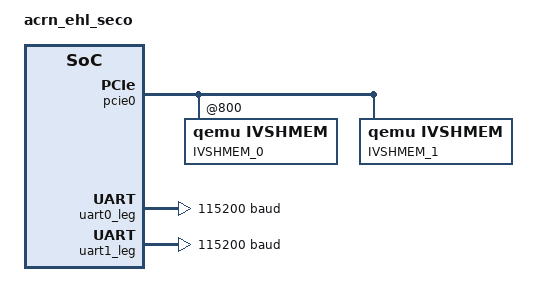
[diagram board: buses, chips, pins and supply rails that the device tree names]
/*
 * Copyright (c) 2020 Intel Corporation
 *
 * SPDX-License-Identifier: Apache-2.0
 */

/dts-v1/;

#include <mem.h>

//#define DT_DRAM_SIZE		DT_SIZE_M(2048)
#define DT_DRAM_SIZE		DT_SIZE_M(256)
#define DT_DRAM_BASE		0

#include <acrn_vm0_elkhart_lake.dtsi>

/ {
	model = "acrn_ehl_seco";
	compatible = "acrn_ehl_seco";

	aliases {
		uart-0 = &uart0_leg;
		uart-1 = &uart1_leg;
	};

	chosen {
		zephyr,sram = &dram0;
		zephyr,console = &uart0_leg;
		zephyr,shell-uart = &uart0_leg;
	};

    pcie0 {
		ivshmem0: ivshmem@800 {
			compatible = "qemu,ivshmem";

			reg = <PCIE_BDF(0,0x1,0) PCIE_ID(0x1af4,0x1110)>;
//			reg = <PCIE_BDF_NONE PCIE_ID(0x1af4,0x1110)>;
			label = "IVSHMEM_0";
			status = "okay";
		};
		ivshmem1: ivshmem@1000 {
			compatible = "qemu,ivshmem";

			reg = <PCIE_BDF(0,0x2,0) PCIE_ID(0x1af4,0x1110)>;

			label = "IVSHMEM_1";
			status = "okay";
		};
    };

    soc {
		uart0_leg: uart@3f8 {
			compatible = "ns16550";
			reg = <0x000003f8 0x100>;
			label = "UART_0_LEG";
			clock-frequency = <1843200>;
			interrupts = <4 IRQ_TYPE_LOWEST_EDGE_RISING 3>;
			interrupt-parent = <&intc>;

			status = "disabled";
		};

		uart1_leg: uart@2f8 {
			compatible = "ns16550";
			reg = <0x000002f8 0x100>;
			label = "UART_1_LEG";
			clock-frequency = <1843200>;
			interrupts = <3 IRQ_TYPE_LOWEST_EDGE_RISING 3>;
			interrupt-parent = <&intc>;

			status = "disabled";
		};
    };
};

// enabled and modified devices
&uart0_leg {
	status = "okay";
	current-speed = <115200>;
};

&uart1_leg {
	status = "okay";
	current-speed = <115200>;
};

&uart1_fixed {
	status = "disabled";
};

&uart2_fixed {
	status = "disabled";
};

&dram0 {
	device_type = "memory";
	reg = <DT_DRAM_BASE DT_DRAM_SIZE>;
};

// disabled devices
&ibecc {
    status = "disabled";
};

&uart0 {
    status = "disabled";
};

&uart1 {
    status = "disabled";
};

&uart2 {
    status = "disabled";
};

&uart_pse_0 {
    status = "disabled";
};

&uart_pse_1 {
    status = "disabled";
};

&uart_pse_2 {
    status = "disabled";
};

&uart_pse_3 {
    status = "disabled";
};

&uart_pse_4 {
    status = "disabled";
};

&uart_pse_5 {
	status = "disabled";
};

&i2c0 {
    status = "disabled";
};

&i2c1 {
    status = "disabled";
};

&i2c2 {
    status = "disabled";
};

&i2c3 {
    status = "disabled";
};

&i2c4 {
    status = "disabled";
};

&i2c5 {
    status = "disabled";
};

&i2c6 {
    status = "disabled";
};

&i2c7 {
    status = "disabled";
};

&i2c_pse_0 {
    status = "disabled";
};

&i2c_pse_1 {
    status = "disabled";
};

&i2c_pse_2 {
    status = "disabled";
};

&i2c_pse_3 {
    status = "disabled";
};

&i2c_pse_4 {
    status = "disabled";
};

&i2c_pse_5 {
    status = "disabled";
};

&i2c_pse_6 {
    status = "disabled";
};

&hpet {
    status = "disabled";
};
